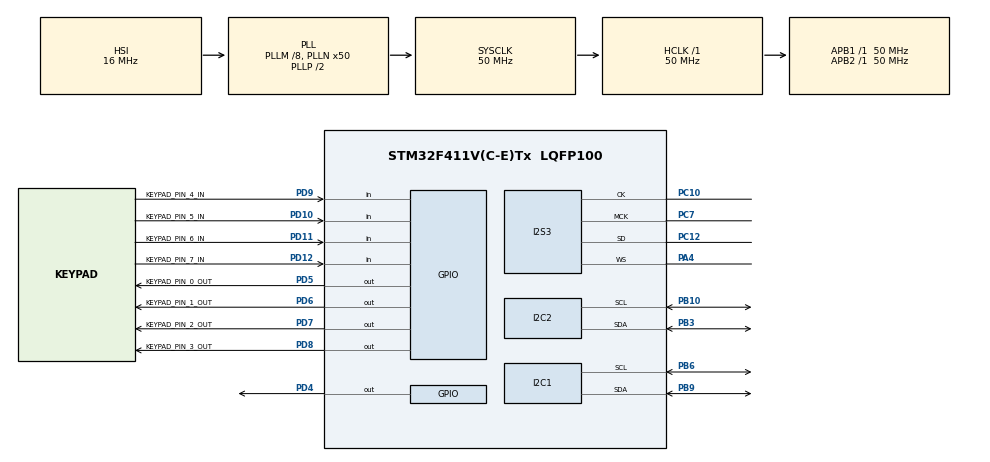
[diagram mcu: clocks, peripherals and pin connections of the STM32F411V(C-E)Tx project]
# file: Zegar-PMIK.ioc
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Dma.Request0=SPI3_TX
Dma.SPI3_TX.0.Direction=DMA_MEMORY_TO_PERIPH
Dma.SPI3_TX.0.FIFOMode=DMA_FIFOMODE_ENABLE
Dma.SPI3_TX.0.FIFOThreshold=DMA_FIFO_THRESHOLD_FULL
Dma.SPI3_TX.0.Instance=DMA1_Stream5
Dma.SPI3_TX.0.MemBurst=DMA_MBURST_SINGLE
Dma.SPI3_TX.0.MemDataAlignment=DMA_MDATAALIGN_HALFWORD
Dma.SPI3_TX.0.MemInc=DMA_MINC_ENABLE
Dma.SPI3_TX.0.Mode=DMA_CIRCULAR
Dma.SPI3_TX.0.PeriphBurst=DMA_PBURST_SINGLE
Dma.SPI3_TX.0.PeriphDataAlignment=DMA_PDATAALIGN_HALFWORD
Dma.SPI3_TX.0.PeriphInc=DMA_PINC_DISABLE
Dma.SPI3_TX.0.Priority=DMA_PRIORITY_LOW
I2C1.I2C_Mode=I2C_Standard
I2C2.I2C_Mode=I2C_Fast
I2S3.AudioFreq=I2S_AUDIOFREQ_44K
I2S3.ErrorAudioFreq=-5.3 %
I2S3.FullDuplexMode=I2S_FULLDUPLEXMODE_DISABLE
I2S3.Instance=SPI$Index
I2S3.RealAudioFreq=41.666 KHz
I2S3.VirtualMode=I2S_MODE_MASTER
Mcu.Family=STM32F4
Mcu.Name=STM32F411V(C-E)Tx
Mcu.Package=LQFP100
NVIC.DMA1_Stream5_IRQn=true\:0\:0\:false\:false\:true\:false\:true
NVIC.I2C2_ER_IRQn=true\:0\:1\:false\:false\:true\:true\:true
NVIC.I2C2_EV_IRQn=true\:1\:0\:true\:false\:true\:true\:true
NVIC.PriorityGroup=NVIC_PRIORITYGROUP_2
NVIC.RCC_IRQn=true\:0\:0\:false\:false\:true\:true\:false
NVIC.RTC_Alarm_IRQn=true\:0\:0\:false\:false\:true\:true\:true
NVIC.TIM2_IRQn=true\:2\:0\:true\:false\:true\:true\:true
PA4.Mode=Half_Duplex_Master
PA4.Signal=I2S3_WS
PB10.Mode=I2C
PB10.Signal=I2C2_SCL
PB3.Mode=I2C
PB3.Signal=I2C2_SDA
PB6.Mode=I2C
PB6.Signal=I2C1_SCL
PB9.Mode=I2C
PB9.Signal=I2C1_SDA
PC10.Mode=Half_Duplex_Master
PC10.Signal=I2S3_CK
PC12.Mode=Half_Duplex_Master
PC12.Signal=I2S3_SD
PC14-OSC32_IN.Mode=LSE-External-Oscillator
PC14-OSC32_IN.Signal=RCC_OSC32_IN
PC15-OSC32_OUT.Mode=LSE-External-Oscillator
PC15-OSC32_OUT.Signal=RCC_OSC32_OUT
PC7.Mode=Master_Clock_Activated
PC7.Signal=I2S3_MCK
PD10.GPIO_Label=KEYPAD_PIN_5_IN
PD10.Signal=GPIO_Input
PD11.GPIO_Label=KEYPAD_PIN_6_IN
PD11.Signal=GPIO_Input
PD12.GPIO_Label=KEYPAD_PIN_7_IN
PD12.Signal=GPIO_Input
PD4.Signal=GPIO_Output
PD5.GPIO_Label=KEYPAD_PIN_0_OUT
PD5.GPIO_ModeDefaultOutputPP=GPIO_MODE_OUTPUT_OD
PD5.GPIO_PuPd=GPIO_PULLDOWN
PD5.Signal=GPIO_Output
PD6.GPIO_Label=KEYPAD_PIN_1_OUT
PD6.GPIO_ModeDefaultOutputPP=GPIO_MODE_OUTPUT_OD
PD6.GPIO_PuPd=GPIO_PULLDOWN
PD6.Signal=GPIO_Output
PD7.GPIO_Label=KEYPAD_PIN_2_OUT
PD7.GPIO_ModeDefaultOutputPP=GPIO_MODE_OUTPUT_OD
PD7.GPIO_PuPd=GPIO_PULLDOWN
PD7.Signal=GPIO_Output
PD8.GPIO_Label=KEYPAD_PIN_3_OUT
PD8.GPIO_ModeDefaultOutputPP=GPIO_MODE_OUTPUT_OD
PD8.GPIO_PuPd=GPIO_PULLDOWN
PD8.Signal=GPIO_Output
PD9.GPIO_Label=KEYPAD_PIN_4_IN
PD9.GPIO_PuPd=GPIO_NOPULL
PD9.Signal=GPIO_Input
PH0\ -\ OSC_IN.Mode=HSE-External-Oscillator
PH0\ -\ OSC_IN.Signal=RCC_OSC_IN
PH1\ -\ OSC_OUT.Mode=HSE-External-Oscillator
PH1\ -\ OSC_OUT.Signal=RCC_OSC_OUT
ProjectManager.HeapSize=0x200
ProjectManager.StackSize=0x400
ProjectManager.TargetToolchain=SW4STM32
RCC.48MHZClocksFreq_Value=25000000
RCC.AHBFreq_Value=50000000
RCC.APB1Freq_Value=50000000
RCC.APB1TimFreq_Value=50000000
RCC.APB2Freq_Value=50000000
RCC.APB2TimFreq_Value=50000000
RCC.CortexFreq_Value=6250000
RCC.Cortex_Div=SYSTICK_CLKSOURCE_HCLK_DIV8
RCC.HCLKFreq_Value=50000000
RCC.HSE_VALUE=8000000
RCC.HSI_VALUE=16000000
RCC.PLLM=8
RCC.PLLN=50
RCC.SYSCLKFreq_VALUE=50000000
RCC.SYSCLKSource=RCC_SYSCLKSOURCE_PLLCLK
RCC.VCOOutputFreq_Value=100000000
RTC.Alarm=RTC_ALARM_A
RTC.Seconds_A=0
TIM2.AutoReloadPreload=TIM_AUTORELOAD_PRELOAD_DISABLE
TIM2.ClockDivision=TIM_CLOCKDIVISION_DIV4
TIM2.Period=125000
TIM2.Prescaler=50
VP_RTC_VS_RTC_Activate.Mode=RTC_Enabled
VP_RTC_VS_RTC_Alarm_A_Intern.Mode=Alarm A
VP_RTC_VS_RTC_Calendar.Mode=RTC_Calendar
VP_TIM2_VS_ClockSourceINT.Mode=Internal
board=custom

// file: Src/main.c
/* USER CODE BEGIN Header */
/*
 * main.c
 *
 * Author: Marcin Dolicher, Micha³ Stolarz
*/
/**
  ******************************************************************************
  * @author 		Marcin Dolicher, Micha³ Stolarz
  * @version 		1.0
  * @file           : main.c
  * @brief          : Main program body
  ******************************************************************************
  ** This notice applies to any and all portions of this file
  * that are not between comment pairs USER CODE BEGIN and
  * USER CODE END. Other portions of this file, whether
  * inserted by the user or by software development tools
  * are owned by their respective copyright owners.
  *
  * COPYRIGHT(c) 2019 STMicroelectronics
  *
  * Redistribution and use in source and binary forms, with or without modification,
  * are permitted provided that the following conditions are met:
  *   1. Redistributions of source code must retain the above copyright notice,
  *      this list of conditions and the following disclaimer.
  *   2. Redistributions in binary form must reproduce the above copyright notice,
  *      this list of conditions and the following disclaimer in the documentation
  *      and/or other materials provided with the distribution.
  *   3. Neither the name of STMicroelectronics nor the names of its contributors
  *      may be used to endorse or promote products derived from this software
  *      without specific prior written permission.
  *
  * THIS SOFTWARE IS PROVIDED BY THE COPYRIGHT HOLDERS AND CONTRIBUTORS "AS IS"
  * AND ANY EXPRESS OR IMPLIED WARRANTIES, INCLUDING, BUT NOT LIMITED TO, THE
  * IMPLIED WARRANTIES OF MERCHANTABILITY AND FITNESS FOR A PARTICULAR PURPOSE ARE
  * DISCLAIMED. IN NO EVENT SHALL THE COPYRIGHT HOLDER OR CONTRIBUTORS BE LIABLE
  * FOR ANY DIRECT, INDIRECT, INCIDENTAL, SPECIAL, EXEMPLARY, OR CONSEQUENTIAL
  * DAMAGES (INCLUDING, BUT NOT LIMITED TO, PROCUREMENT OF SUBSTITUTE GOODS OR
  * SERVICES; LOSS OF USE, DATA, OR PROFITS; OR BUSINESS INTERRUPTION) HOWEVER
  * CAUSED AND ON ANY THEORY OF LIABILITY, WHETHER IN CONTRACT, STRICT LIABILITY,
  * OR TORT (INCLUDING NEGLIGENCE OR OTHERWISE) ARISING IN ANY WAY OUT OF THE USE
  * OF THIS SOFTWARE, EVEN IF ADVISED OF THE POSSIBILITY OF SUCH DAMAGE.
  *
  ******************************************************************************
  */
/* USER CODE END Header */

#include "main.h"

/* USER CODE BEGIN Includes */
#include "stdint.h"
#include "inttypes.h"
#include "Controller/controller.h"
#include "Library/Keypad/keypad.h"
#include "Library/Display/ssd1306.h"
#include "Library/Flash/flash.h"
#include "Library/Audio/MY_CS43L22.h"
#include "Library/Audio/recording.h"
#include "../Src/Controller/controller.h"

/* USER CODE END Includes */

/* USER CODE BEGIN PD */
#define alarm_volume 40
#define alarm_duration 40

/* USER CODE END PD */

I2C_HandleTypeDef hi2c1;
I2C_HandleTypeDef hi2c2;

I2S_HandleTypeDef hi2s3;
DMA_HandleTypeDef hdma_spi3_tx;

RTC_HandleTypeDef hrtc;

TIM_HandleTypeDef htim2;

/* USER CODE BEGIN PV */
char time_clock[9];
char alarm_clock[9];
char date_clock[9];
bool actualScreen[3] = {true, false, false};
int counter_alarm = 0;
bool screen_flag = false;
bool keypad_flag = false;
char global_char = ' ';
int global_int = 0;
/* USER CODE END PV */

void SystemClock_Config(void);
static void MX_GPIO_Init(void);
static void MX_DMA_Init(void);
static void MX_I2C1_Init(void);
static void MX_TIM2_Init(void);
static void MX_I2C2_Init(void);
static void MX_I2S3_Init(void);
static void MX_RTC_Init(void);
/* USER CODE BEGIN PFP */
//void HAL_GPIO_EXTI_Callback(uint16_t GPIO_Pin);
/* USER CODE END PFP */

int main(void)
{

  /* MCU Configuration--------------------------------------------------------*/

  /* Reset of all peripherals, Initializes the Flash interface and the Systick. */
  HAL_Init();

  /* Configure the system clock */
  SystemClock_Config();

  /* Initialize all configured peripherals */
  MX_GPIO_Init();
  MX_DMA_Init();
  MX_I2C1_Init();
  MX_TIM2_Init();
  MX_I2C2_Init();
  MX_I2S3_Init();
  MX_RTC_Init();
  /* USER CODE BEGIN 2 */
  CS43_Init(hi2c1, MODE_I2S);
  CS43_SetVolume(alarm_volume);
  CS43_Enable_RightLeft(CS43_RIGHT_LEFT);
  HAL_GPIO_WritePin(GPIOD, GPIO_PIN_10 | GPIO_PIN_11 | GPIO_PIN_12, GPIO_PIN_SET);
  HAL_GPIO_WritePin(GPIOD, GPIO_PIN_5 | GPIO_PIN_6 | GPIO_PIN_7 | GPIO_PIN_8 | GPIO_PIN_9, GPIO_PIN_RESET);
  HAL_GPIO_WritePin(GPIOD, GPIO_PIN_4, GPIO_PIN_SET);
  ssd1306_Init();
  HAL_TIM_Base_Start_IT(&htim2);

  /* USER CODE END 2 */

  /* Infinite loop */
  /* USER CODE BEGIN WHILE */
  char got_char = ' ';
  /*!
   * W petli while nastepuje odszumianie klikniec uzytkownika i uruchomienie controllera
   * ktory realizuje logike programu
   */
  while (1)
  {
	  if(keypad_flag)
	  {
		  if(global_char == 'D' || global_char == '*')
			  handleDirectionButton(global_char);
		  else if(global_char != ' ') got_char = global_char;
		  keypad_flag = false;
	  	  global_char = ' ';
	  	  global_int = 0;
	  }
	  else if(screen_flag)
	  {
		  controller(got_char);
		  got_char = ' ';
		  screen_flag = false;
	  }
  }
  /* USER CODE END 3 */
}

void SystemClock_Config(void)
{
  RCC_OscInitTypeDef RCC_OscInitStruct = {0};
  RCC_ClkInitTypeDef RCC_ClkInitStruct = {0};
  RCC_PeriphCLKInitTypeDef PeriphClkInitStruct = {0};

  /** Configure the main internal regulator output voltage
  */
  __HAL_RCC_PWR_CLK_ENABLE();
  __HAL_PWR_VOLTAGESCALING_CONFIG(PWR_REGULATOR_VOLTAGE_SCALE1);
  /** Initializes the CPU, AHB and APB busses clocks
  */
  RCC_OscInitStruct.OscillatorType = RCC_OSCILLATORTYPE_HSI|RCC_OSCILLATORTYPE_LSI;
  RCC_OscInitStruct.HSIState = RCC_HSI_ON;
  RCC_OscInitStruct.HSICalibrationValue = RCC_HSICALIBRATION_DEFAULT;
  RCC_OscInitStruct.LSIState = RCC_LSI_ON;
  RCC_OscInitStruct.PLL.PLLState = RCC_PLL_ON;
  RCC_OscInitStruct.PLL.PLLSource = RCC_PLLSOURCE_HSI;
  RCC_OscInitStruct.PLL.PLLM = 8;
  RCC_OscInitStruct.PLL.PLLN = 50;
  RCC_OscInitStruct.PLL.PLLP = RCC_PLLP_DIV2;
  RCC_OscInitStruct.PLL.PLLQ = 4;
  if (HAL_RCC_OscConfig(&RCC_OscInitStruct) != HAL_OK)
  {
    Error_Handler();
  }
  /** Initializes the CPU, AHB and APB busses clocks
  */
  RCC_ClkInitStruct.ClockType = RCC_CLOCKTYPE_HCLK|RCC_CLOCKTYPE_SYSCLK
                              |RCC_CLOCKTYPE_PCLK1|RCC_CLOCKTYPE_PCLK2;
  RCC_ClkInitStruct.SYSCLKSource = RCC_SYSCLKSOURCE_PLLCLK;
  RCC_ClkInitStruct.AHBCLKDivider = RCC_SYSCLK_DIV1;
  RCC_ClkInitStruct.APB1CLKDivider = RCC_HCLK_DIV1;
  RCC_ClkInitStruct.APB2CLKDivider = RCC_HCLK_DIV1;

  if (HAL_RCC_ClockConfig(&RCC_ClkInitStruct, FLASH_LATENCY_1) != HAL_OK)
  {
    Error_Handler();
  }
  PeriphClkInitStruct.PeriphClockSelection = RCC_PERIPHCLK_I2S|RCC_PERIPHCLK_RTC;
  PeriphClkInitStruct.PLLI2S.PLLI2SN = 192;
  PeriphClkInitStruct.PLLI2S.PLLI2SM = 16;
  PeriphClkInitStruct.PLLI2S.PLLI2SR = 2;
  PeriphClkInitStruct.RTCClockSelection = RCC_RTCCLKSOURCE_LSI;
  if (HAL_RCCEx_PeriphCLKConfig(&PeriphClkInitStruct) != HAL_OK)
  {
    Error_Handler();
  }
}

static void MX_I2C1_Init(void)
{

  hi2c1.Instance = I2C1;
  hi2c1.Init.ClockSpeed = 100000;
  hi2c1.Init.DutyCycle = I2C_DUTYCYCLE_2;
  hi2c1.Init.OwnAddress1 = 0;
  hi2c1.Init.AddressingMode = I2C_ADDRESSINGMODE_7BIT;
  hi2c1.Init.DualAddressMode = I2C_DUALADDRESS_DISABLE;
  hi2c1.Init.OwnAddress2 = 0;
  hi2c1.Init.GeneralCallMode = I2C_GENERALCALL_DISABLE;
  hi2c1.Init.NoStretchMode = I2C_NOSTRETCH_DISABLE;
  if (HAL_I2C_Init(&hi2c1) != HAL_OK)
  {
    Error_Handler();
  }

}

static void MX_I2C2_Init(void)
{

  hi2c2.Instance = I2C2;
  hi2c2.Init.ClockSpeed = 400000;
  hi2c2.Init.DutyCycle = I2C_DUTYCYCLE_2;
  hi2c2.Init.OwnAddress1 = 0;
  hi2c2.Init.AddressingMode = I2C_ADDRESSINGMODE_7BIT;
  hi2c2.Init.DualAddressMode = I2C_DUALADDRESS_DISABLE;
  hi2c2.Init.OwnAddress2 = 0;
  hi2c2.Init.GeneralCallMode = I2C_GENERALCALL_DISABLE;
  hi2c2.Init.NoStretchMode = I2C_NOSTRETCH_DISABLE;
  if (HAL_I2C_Init(&hi2c2) != HAL_OK)
  {
    Error_Handler();
  }

}

static void MX_I2S3_Init(void)
{

  hi2s3.Instance = SPI3;
  hi2s3.Init.Mode = I2S_MODE_MASTER_TX;
  hi2s3.Init.Standard = I2S_STANDARD_PHILIPS;
  hi2s3.Init.DataFormat = I2S_DATAFORMAT_16B;
  hi2s3.Init.MCLKOutput = I2S_MCLKOUTPUT_ENABLE;
  hi2s3.Init.AudioFreq = I2S_AUDIOFREQ_44K;
  hi2s3.Init.CPOL = I2S_CPOL_LOW;
  hi2s3.Init.ClockSource = I2S_CLOCK_PLL;
  hi2s3.Init.FullDuplexMode = I2S_FULLDUPLEXMODE_DISABLE;
  if (HAL_I2S_Init(&hi2s3) != HAL_OK)
  {
    Error_Handler();
  }

}

static void MX_RTC_Init(void)
{

  RTC_TimeTypeDef sTime = {0};
  RTC_DateTypeDef sDate = {0};
  RTC_AlarmTypeDef sAlarm = {0};

  /** Initialize RTC Only
  */
  hrtc.Instance = RTC;
  hrtc.Init.HourFormat = RTC_HOURFORMAT_24;
  hrtc.Init.AsynchPrediv = 127;
  hrtc.Init.SynchPrediv = 255;
  hrtc.Init.OutPut = RTC_OUTPUT_DISABLE;
  hrtc.Init.OutPutPolarity = RTC_OUTPUT_POLARITY_HIGH;
  hrtc.Init.OutPutType = RTC_OUTPUT_TYPE_OPENDRAIN;
  if (HAL_RTC_Init(&hrtc) != HAL_OK)
  {
    Error_Handler();
  }

  /** Initialize RTC and set the Time and Date
  */
  sTime.Hours = 0x0;
  sTime.Minutes = 0x0;
  sTime.Seconds = 0x0;
  sTime.DayLightSaving = RTC_DAYLIGHTSAVING_NONE;
  sTime.StoreOperation = RTC_STOREOPERATION_RESET;
  if (HAL_RTC_SetTime(&hrtc, &sTime, RTC_FORMAT_BCD) != HAL_OK)
  {
    Error_Handler();
  }
  sDate.WeekDay = RTC_WEEKDAY_MONDAY;
  sDate.Month = RTC_MONTH_JANUARY;
  sDate.Date = 0x1;
  sDate.Year = 0x0;

  if (HAL_RTC_SetDate(&hrtc, &sDate, RTC_FORMAT_BCD) != HAL_OK)
  {
    Error_Handler();
  }
  /** Enable the Alarm A
  */
  uint32_t alarm_time[] = {0x00,0x00,0x00};
  readAlarmFlash(alarm_time);
  uint8_t hours = (uint8_t)(alarm_time[0]);
  uint8_t minutes = (uint8_t)(alarm_time[1]);
  uint8_t seconds = (uint8_t)(alarm_time[2]);

  sAlarm.AlarmTime.Hours = hours;
  sAlarm.AlarmTime.Minutes = minutes;
  sAlarm.AlarmTime.Seconds = seconds;
  sAlarm.AlarmTime.SubSeconds = 0x0;
  sAlarm.AlarmTime.DayLightSaving = RTC_DAYLIGHTSAVING_NONE;
  sAlarm.AlarmTime.StoreOperation = RTC_STOREOPERATION_RESET;
  sAlarm.AlarmMask = RTC_ALARMMASK_NONE;
  sAlarm.AlarmSubSecondMask = RTC_ALARMSUBSECONDMASK_ALL;
  sAlarm.AlarmDateWeekDaySel = RTC_ALARMDATEWEEKDAYSEL_DATE;
  sAlarm.AlarmDateWeekDay = 1;
  sAlarm.Alarm = RTC_ALARM_A;
  if (HAL_RTC_SetAlarm_IT(&hrtc, &sAlarm, RTC_FORMAT_BIN) != HAL_OK)
  {
    Error_Handler();
  }
  /* USER CODE BEGIN RTC_Init 2 */
  HAL_RTCEx_BKUPWrite(&hrtc, RTC_BKP_DR1, 0x32F2);
  /* USER CODE END RTC_Init 2 */

}

static void MX_TIM2_Init(void)
{

  TIM_ClockConfigTypeDef sClockSourceConfig = {0};
  TIM_MasterConfigTypeDef sMasterConfig = {0};

  htim2.Instance = TIM2;
  htim2.Init.Prescaler = 50;
  htim2.Init.CounterMode = TIM_COUNTERMODE_UP;
  htim2.Init.Period = 125000;
  htim2.Init.ClockDivision = TIM_CLOCKDIVISION_DIV4;
  htim2.Init.AutoReloadPreload = TIM_AUTORELOAD_PRELOAD_DISABLE;
  if (HAL_TIM_Base_Init(&htim2) != HAL_OK)
  {
    Error_Handler();
  }
  sClockSourceConfig.ClockSource = TIM_CLOCKSOURCE_INTERNAL;
  if (HAL_TIM_ConfigClockSource(&htim2, &sClockSourceConfig) != HAL_OK)
  {
    Error_Handler();
  }
  sMasterConfig.MasterOutputTrigger = TIM_TRGO_RESET;
  sMasterConfig.MasterSlaveMode = TIM_MASTERSLAVEMODE_DISABLE;
  if (HAL_TIMEx_MasterConfigSynchronization(&htim2, &sMasterConfig) != HAL_OK)
  {
    Error_Handler();
  }

}

static void MX_DMA_Init(void)
{
  /* DMA controller clock enable */
  __HAL_RCC_DMA1_CLK_ENABLE();

  /* DMA interrupt init */
  /* DMA1_Stream5_IRQn interrupt configuration */
  HAL_NVIC_SetPriority(DMA1_Stream5_IRQn, 0, 0);
  HAL_NVIC_EnableIRQ(DMA1_Stream5_IRQn);

}

static void MX_GPIO_Init(void)
{
  GPIO_InitTypeDef GPIO_InitStruct = {0};

  /* GPIO Ports Clock Enable */
  __HAL_RCC_GPIOC_CLK_ENABLE();
  __HAL_RCC_GPIOH_CLK_ENABLE();
  __HAL_RCC_GPIOA_CLK_ENABLE();
  __HAL_RCC_GPIOB_CLK_ENABLE();
  __HAL_RCC_GPIOD_CLK_ENABLE();

  /*Configure GPIO pin Output Level */
  HAL_GPIO_WritePin(GPIOD, KEYPAD_PIN_3_OUT_Pin|GPIO_PIN_4|KEYPAD_PIN_0_OUT_Pin|KEYPAD_PIN_1_OUT_Pin
                          |KEYPAD_PIN_2_OUT_Pin, GPIO_PIN_RESET);

  /*Configure GPIO pins : KEYPAD_PIN_3_OUT_Pin KEYPAD_PIN_0_OUT_Pin KEYPAD_PIN_1_OUT_Pin KEYPAD_PIN_2_OUT_Pin */
  GPIO_InitStruct.Pin = KEYPAD_PIN_3_OUT_Pin|KEYPAD_PIN_0_OUT_Pin|KEYPAD_PIN_1_OUT_Pin|KEYPAD_PIN_2_OUT_Pin;
  GPIO_InitStruct.Mode = GPIO_MODE_OUTPUT_OD;
  GPIO_InitStruct.Pull = GPIO_PULLDOWN;
  GPIO_InitStruct.Speed = GPIO_SPEED_FREQ_LOW;
  HAL_GPIO_Init(GPIOD, &GPIO_InitStruct);

  /*Configure GPIO pins : KEYPAD_PIN_4_IN_Pin KEYPAD_PIN_5_IN_Pin KEYPAD_PIN_6_IN_Pin KEYPAD_PIN_7_IN_Pin */
  GPIO_InitStruct.Pin = KEYPAD_PIN_4_IN_Pin|KEYPAD_PIN_5_IN_Pin|KEYPAD_PIN_6_IN_Pin|KEYPAD_PIN_7_IN_Pin;
  GPIO_InitStruct.Mode = GPIO_MODE_INPUT;
  GPIO_InitStruct.Pull = GPIO_NOPULL;
  HAL_GPIO_Init(GPIOD, &GPIO_InitStruct);

  /*Configure GPIO pin : PD4 */
  GPIO_InitStruct.Pin = GPIO_PIN_4;
  GPIO_InitStruct.Mode = GPIO_MODE_OUTPUT_PP;
  GPIO_InitStruct.Pull = GPIO_NOPULL;
  GPIO_InitStruct.Speed = GPIO_SPEED_FREQ_LOW;
  HAL_GPIO_Init(GPIOD, &GPIO_InitStruct);

}

/* USER CODE BEGIN 4 */

/**
  * @brief  Obsluga przerwania z alarum zegara RTC.
  * @param  wskaznik hrtc do struktury RTC_HandleTypeDef ktora zawiera
  *                informacje konfiguracyjne dla RTC.
  */
void HAL_RTC_AlarmAEventCallback(RTC_HandleTypeDef *hrtc){
	MX_DMA_Init();
	HAL_I2S_Transmit_DMA(&hi2s3, (uint16_t*)AUDIO_SAMPLE, 33000);
	CS43_Start();
	counter_alarm = 1;
}

/**
  * @brief  Obsluga przerwania z timera.
  * @param  wskaznik htim do struktury RTC_HandleTypeDef ktora zawiera
  *                informacje konfoguracyjne dla timera.
  */
void HAL_TIM_PeriodElapsedCallback(TIM_HandleTypeDef *htim){
	if(htim->Instance == TIM2)
	{
		static bool press_flag = false;
		static char old_char = ' ';
		static int old_int = 0;
		char local_char = getCharKeypad();
		int local_int = getIntKeypad();
		if(local_char != ' ')
			{
				press_flag = true;
				old_char = local_char;
				old_int = local_int;
			}
		else if(local_char == ' ' && press_flag) {
			press_flag = false;
			global_char = old_char;
			global_int = old_int;
			old_char = ' ';
			old_int = 0;
		}

		if(!keypad_flag) keypad_flag = true;
		if(!screen_flag) screen_flag = true;

		if(counter_alarm <= alarm_duration && counter_alarm != 0) counter_alarm++;
		if(counter_alarm > alarm_duration) {
			counter_alarm = 0;
			CS43_Stop();
			HAL_Delay(20);
			HAL_I2S_DMAStop(&hi2s3);
		}
	}
}

/**
  * @brief  Pobranie czasu i daty z RTC. Zapisanie wartosci do tablic \param time_clock oraz \param date_clock
  */
void getTime(void)
{
  RTC_DateTypeDef gDate;
  RTC_TimeTypeDef gTime;

  /* Get the RTC current Time */
  HAL_RTC_GetTime(&hrtc, &gTime, RTC_FORMAT_BIN);
  /* Get the RTC current Date */
  HAL_RTC_GetDate(&hrtc, &gDate, RTC_FORMAT_BIN);

  /* Display time Format: hh:mm:ss */
  sprintf((int*)time_clock,"%02d:%02d:%02d", gTime.Hours, gTime.Minutes, gTime.Seconds);
  /* Display date Format: dd-mm-yy */
  sprintf((char*)date_clock,"%02d-%02d-%2d",gDate.Date, gDate.Month, 2000 + gDate.Year);
}

/**
 * @brief  Pobranie godziny alarmu z RTC i przypisanie jej do tablicy \param alarm_clock.
 */
void getAlarm(void)
{
	RTC_AlarmTypeDef sAlarm;
	uint32_t alarmType = RTC_ALARM_A;

	HAL_RTC_GetAlarm(&hrtc, &sAlarm, alarmType, RTC_FORMAT_BIN);

	sprintf((int*) alarm_clock, "%02d:%02d:%02d", sAlarm.AlarmTime.Hours, sAlarm.AlarmTime.Minutes, sAlarm.AlarmTime.Seconds);
}

/* USER CODE END 4 */

void Error_Handler(void)
{
}

/************************ (C) COPYRIGHT STMicroelectronics *****END OF FILE****/
